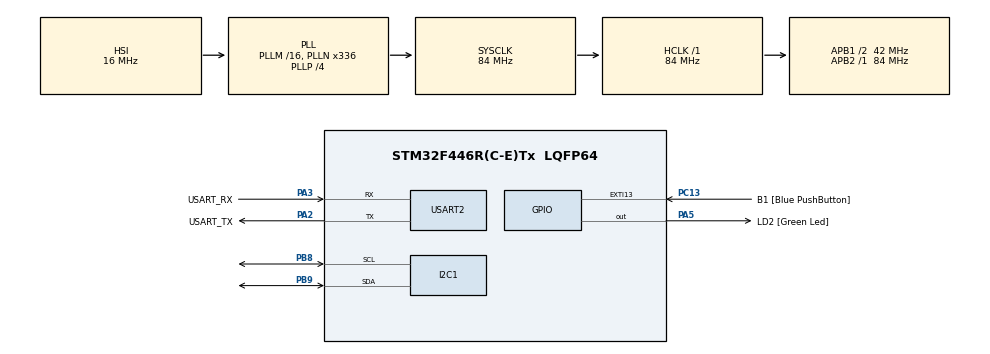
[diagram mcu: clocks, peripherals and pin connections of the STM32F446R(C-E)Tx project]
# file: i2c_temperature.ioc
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Mcu.Family=STM32F4
Mcu.Name=STM32F446R(C-E)Tx
Mcu.Package=LQFP64
NVIC.PriorityGroup=NVIC_PRIORITYGROUP_0
PA13.GPIO_Label=TMS
PA13.Mode=Serial_Wire
PA13.Signal=SYS_JTMS-SWDIO
PA14.GPIO_Label=TCK
PA14.Mode=Serial_Wire
PA14.Signal=SYS_JTCK-SWCLK
PA2.GPIO_Label=USART_TX
PA2.Mode=Asynchronous
PA2.Signal=USART2_TX
PA3.GPIO_Label=USART_RX
PA3.Mode=Asynchronous
PA3.Signal=USART2_RX
PA5.GPIO_Label=LD2 [Green Led]
PA5.Signal=GPIO_Output
PB3.GPIO_Label=SWO
PB3.Signal=SYS_JTDO-SWO
PB8.Mode=I2C
PB8.Signal=I2C1_SCL
PB9.Mode=I2C
PB9.Signal=I2C1_SDA
PC13.GPIO_Label=B1 [Blue PushButton]
PC13.GPIO_ModeDefaultEXTI=GPIO_MODE_IT_FALLING
PC13.Signal=GPXTI13
PC14-OSC32_IN.Mode=LSE-External-Oscillator
PC14-OSC32_IN.Signal=RCC_OSC32_IN
PC15-OSC32_OUT.Mode=LSE-External-Oscillator
PC15-OSC32_OUT.Signal=RCC_OSC32_OUT
PH0-OSC_IN.Mode=HSE-External-Oscillator
PH0-OSC_IN.Signal=RCC_OSC_IN
PH1-OSC_OUT.Mode=HSE-External-Oscillator
PH1-OSC_OUT.Signal=RCC_OSC_OUT
ProjectManager.HeapSize=0x200
ProjectManager.StackSize=0x400
ProjectManager.TargetToolchain=STM32CubeIDE
RCC.48MHZClocksFreq_Value=84000000
RCC.AHBFreq_Value=84000000
RCC.APB1CLKDivider=RCC_HCLK_DIV2
RCC.APB1Freq_Value=42000000
RCC.APB1TimFreq_Value=84000000
RCC.APB2Freq_Value=84000000
RCC.APB2TimFreq_Value=84000000
RCC.CortexFreq_Value=84000000
RCC.FLatency-AdvancedSettings=FLASH_LATENCY_2
RCC.HCLKFreq_Value=84000000
RCC.HSE_VALUE=8000000
RCC.HSI_VALUE=16000000
RCC.PLLN=336
RCC.PLLP=RCC_PLLP_DIV4
RCC.SYSCLKFreq_VALUE=84000000
RCC.SYSCLKSource=RCC_SYSCLKSOURCE_PLLCLK
RCC.USBFreq_Value=168000000
RCC.VCOOutputFreq_Value=336000000
USART2.VirtualMode=VM_ASYNC
board=NUCLEO-F446RE

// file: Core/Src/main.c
/* USER CODE BEGIN Header */
/**
  ******************************************************************************
  * @file           : main.c
  * @brief          : Main program body
  ******************************************************************************
  * @attention
  *
  * Copyright (c) 2023 STMicroelectronics.
  * All rights reserved.
  *
  * This software is licensed under terms that can be found in the LICENSE file
  * in the root directory of this software component.
  * If no LICENSE file comes with this software, it is provided AS-IS.
  *
  ******************************************************************************
  */
/* USER CODE END Header */
#include "main.h"

/* USER CODE BEGIN Includes */
#include "string.h"
#include "stdio.h"
/* USER CODE END Includes */

I2C_HandleTypeDef hi2c1;

UART_HandleTypeDef huart2;

/* USER CODE BEGIN PV */
static const uint8_t LM75A_ADDR = 0x48 << 1;
static const uint8_t REG_TEMP = 0x00;
/* USER CODE END PV */

void SystemClock_Config(void);
static void MX_GPIO_Init(void);
static void MX_USART2_UART_Init(void);
static void MX_I2C1_Init(void);

int main(void)
{
  /* USER CODE BEGIN 1 */
	HAL_StatusTypeDef ret;
	int16_t val;
	float temp_c;
	uint8_t	buffer[12];
  /* USER CODE END 1 */

  /* MCU Configuration--------------------------------------------------------*/

  /* Reset of all peripherals, Initializes the Flash interface and the Systick. */
  HAL_Init();

  /* Configure the system clock */
  SystemClock_Config();

  /* Initialize all configured peripherals */
  MX_GPIO_Init();
  MX_USART2_UART_Init();
  MX_I2C1_Init();

  /* Infinite loop */
  while (1)
  {

    /* USER CODE BEGIN 3 */
	buffer[0] = REG_TEMP;
	ret = HAL_I2C_Master_Transmit(&hi2c1, LM75A_ADDR, buffer, 1, HAL_MAX_DELAY);
	if (ret != HAL_OK)
		strcpy((char *)buffer, "Error Tx!\r\n");
	else
	{
		ret = HAL_I2C_Master_Receive(&hi2c1, LM75A_ADDR, buffer, 2, HAL_MAX_DELAY);
		if (ret != HAL_OK)
			strcpy((char *)buffer, "Error Rx!\r\n");
		else
		{
			val = ((int16_t)buffer[0] << 3) | (buffer[1] >> 5);
			if (val > 0x7FF)
				val |= 0XF000;
		}
		temp_c = val * 0.125;

		temp_c *= 100;
		sprintf((char *)buffer, "%u.%02u C\r\n",(unsigned int)temp_c / 100, (unsigned int)temp_c %100);
	}
	 //strcpy((char *)buffer, "Hello!\r\n");
	 HAL_UART_Transmit(&huart2, buffer, strlen((char *)buffer), HAL_MAX_DELAY);
	  HAL_Delay(500);
  }
  /* USER CODE END 3 */
}

void SystemClock_Config(void)
{
  RCC_OscInitTypeDef RCC_OscInitStruct = {0};
  RCC_ClkInitTypeDef RCC_ClkInitStruct = {0};

  /** Configure the main internal regulator output voltage
  */
  __HAL_RCC_PWR_CLK_ENABLE();
  __HAL_PWR_VOLTAGESCALING_CONFIG(PWR_REGULATOR_VOLTAGE_SCALE3);

  /** Initializes the RCC Oscillators according to the specified parameters
  * in the RCC_OscInitTypeDef structure.
  */
  RCC_OscInitStruct.OscillatorType = RCC_OSCILLATORTYPE_HSI;
  RCC_OscInitStruct.HSIState = RCC_HSI_ON;
  RCC_OscInitStruct.HSICalibrationValue = RCC_HSICALIBRATION_DEFAULT;
  RCC_OscInitStruct.PLL.PLLState = RCC_PLL_ON;
  RCC_OscInitStruct.PLL.PLLSource = RCC_PLLSOURCE_HSI;
  RCC_OscInitStruct.PLL.PLLM = 16;
  RCC_OscInitStruct.PLL.PLLN = 336;
  RCC_OscInitStruct.PLL.PLLP = RCC_PLLP_DIV4;
  RCC_OscInitStruct.PLL.PLLQ = 2;
  RCC_OscInitStruct.PLL.PLLR = 2;
  if (HAL_RCC_OscConfig(&RCC_OscInitStruct) != HAL_OK)
  {
    Error_Handler();
  }

  /** Initializes the CPU, AHB and APB buses clocks
  */
  RCC_ClkInitStruct.ClockType = RCC_CLOCKTYPE_HCLK|RCC_CLOCKTYPE_SYSCLK
                              |RCC_CLOCKTYPE_PCLK1|RCC_CLOCKTYPE_PCLK2;
  RCC_ClkInitStruct.SYSCLKSource = RCC_SYSCLKSOURCE_PLLCLK;
  RCC_ClkInitStruct.AHBCLKDivider = RCC_SYSCLK_DIV1;
  RCC_ClkInitStruct.APB1CLKDivider = RCC_HCLK_DIV2;
  RCC_ClkInitStruct.APB2CLKDivider = RCC_HCLK_DIV1;

  if (HAL_RCC_ClockConfig(&RCC_ClkInitStruct, FLASH_LATENCY_2) != HAL_OK)
  {
    Error_Handler();
  }
}

static void MX_I2C1_Init(void)
{

  hi2c1.Instance = I2C1;
  hi2c1.Init.ClockSpeed = 100000;
  hi2c1.Init.DutyCycle = I2C_DUTYCYCLE_2;
  hi2c1.Init.OwnAddress1 = 0;
  hi2c1.Init.AddressingMode = I2C_ADDRESSINGMODE_7BIT;
  hi2c1.Init.DualAddressMode = I2C_DUALADDRESS_DISABLE;
  hi2c1.Init.OwnAddress2 = 0;
  hi2c1.Init.GeneralCallMode = I2C_GENERALCALL_DISABLE;
  hi2c1.Init.NoStretchMode = I2C_NOSTRETCH_DISABLE;
  if (HAL_I2C_Init(&hi2c1) != HAL_OK)
  {
    Error_Handler();
  }

}

static void MX_USART2_UART_Init(void)
{

  huart2.Instance = USART2;
  huart2.Init.BaudRate = 115200;
  huart2.Init.WordLength = UART_WORDLENGTH_8B;
  huart2.Init.StopBits = UART_STOPBITS_1;
  huart2.Init.Parity = UART_PARITY_NONE;
  huart2.Init.Mode = UART_MODE_TX_RX;
  huart2.Init.HwFlowCtl = UART_HWCONTROL_NONE;
  huart2.Init.OverSampling = UART_OVERSAMPLING_16;
  if (HAL_UART_Init(&huart2) != HAL_OK)
  {
    Error_Handler();
  }

}

static void MX_GPIO_Init(void)
{
  GPIO_InitTypeDef GPIO_InitStruct = {0};

  /* GPIO Ports Clock Enable */
  __HAL_RCC_GPIOC_CLK_ENABLE();
  __HAL_RCC_GPIOH_CLK_ENABLE();
  __HAL_RCC_GPIOA_CLK_ENABLE();
  __HAL_RCC_GPIOB_CLK_ENABLE();

  /*Configure GPIO pin Output Level */
  HAL_GPIO_WritePin(LD2_GPIO_Port, LD2_Pin, GPIO_PIN_RESET);

  /*Configure GPIO pin : B1_Pin */
  GPIO_InitStruct.Pin = B1_Pin;
  GPIO_InitStruct.Mode = GPIO_MODE_IT_FALLING;
  GPIO_InitStruct.Pull = GPIO_NOPULL;
  HAL_GPIO_Init(B1_GPIO_Port, &GPIO_InitStruct);

  /*Configure GPIO pin : LD2_Pin */
  GPIO_InitStruct.Pin = LD2_Pin;
  GPIO_InitStruct.Mode = GPIO_MODE_OUTPUT_PP;
  GPIO_InitStruct.Pull = GPIO_NOPULL;
  GPIO_InitStruct.Speed = GPIO_SPEED_FREQ_LOW;
  HAL_GPIO_Init(LD2_GPIO_Port, &GPIO_InitStruct);

}

void Error_Handler(void)
{
  __disable_irq();
  while (1)
  {
  }
}
